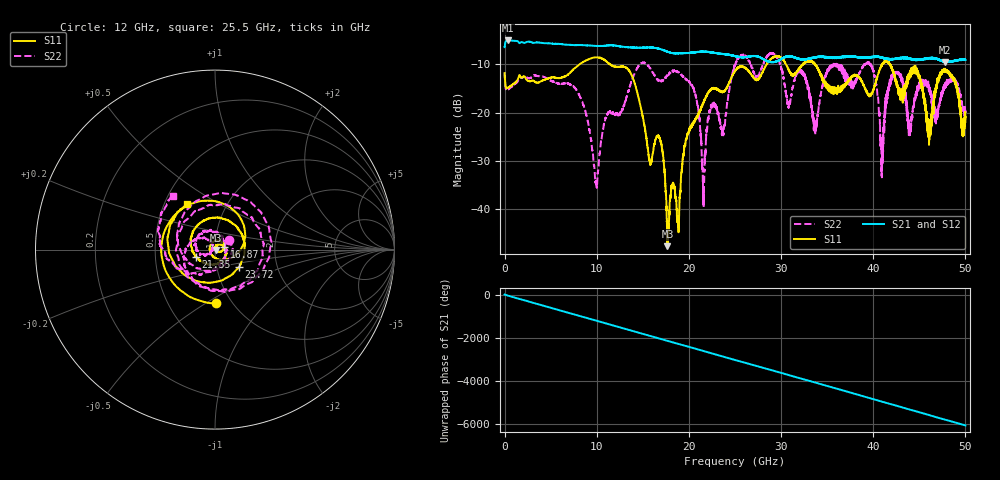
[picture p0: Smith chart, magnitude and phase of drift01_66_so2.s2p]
!Created with skrf (http://scikit-rf.org).
# Hz S RI R 50.0
!freq ReS11 ImS11 ReS21 ImS21 ReS12 ImS12 ReS22 ImS22
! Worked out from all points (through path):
!   10001 points, 300 kHz to 50 GHz, reference 50 ohm
!   highest |S21| = -5.05 dB at 335.3 MHz (marker M1); lowest = -9.6 dB at 47.76 GHz (marker M2)
!   group delay of S21, straight-line fit = 336 ps
!   lowest |S11| = -47.7 dB at 17.67 GHz (marker M3), VSWR 1.01, Z = 50.4 - j0.152 ohm
!   |S11| at or under -10 dB: start of sweep to 8.151 GHz; 11.43 GHz to 28.42 GHz (16.99 GHz wide, 85.3 % of centre); 41.82 GHz to end of sweep (the widest 3 of 12)
!   |S22| runs from -39.7 to -7.6 dB; largest |S21 - S12| = 0.014
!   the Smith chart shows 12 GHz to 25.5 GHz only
!   S11 on the Smith chart (normalised r, x): 12 GHz: 0.84, -0.55; 16.87 GHz: 1.11, +0.03; 21.35 GHz: 0.80, -0.06; 23.72 GHz: 1.28, -0.26; 25.5 GHz: 0.65, +0.36
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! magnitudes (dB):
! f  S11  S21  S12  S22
! 300 kHz  -11.9  -6.4  -6.5  -11.7
! 335.3 MHz  -14.9  -5.0  -5.1  -15.3
! 8.335 GHz  -9.7  -6.0  -6.0  -17.4
! 9.945 GHz  -8.6  -6.2  -6.2  -34.8
! 12 GHz  -10.5  -6.1  -6.1  -20.5
! 15.78 GHz  -30.6  -6.5  -6.5  -10.8
! 16.67 GHz  -24.8  -6.7  -6.7  -13.4
! 16.87 GHz  -25.4  -6.8  -6.8  -13.6
! 17.67 GHz  -47.7  -7.4  -7.4  -12.4
! 20.43 GHz  -22.4  -7.6  -7.6  -14.8
! 21.35 GHz  -18.9  -7.4  -7.4  -26.3
! 23.72 GHz  -15.7  -7.9  -7.9  -24.3
! 25 GHz  -11.3  -8.3  -8.3  -10.2
! 25.5 GHz  -10.5  -8.5  -8.5  -8.4
! 33.34 GHz  -9.4  -8.7  -8.7  -19.2
! 39.49 GHz  -16.2  -8.5  -8.6  -9.8
! 40.97 GHz  -10.1  -8.6  -8.6  -29.1
! 41.67 GHz  -9.6  -8.8  -8.9  -14.7
! 44.75 GHz  -11.6  -9.0  -9.1  -15.8
! 46.1 GHz  -24.3  -8.7  -8.7  -14.9
! 47.76 GHz  -11.1  -9.6  -9.5  -14.7
! 50 GHz  -21.9  -9.1  -9.1  -20.3
